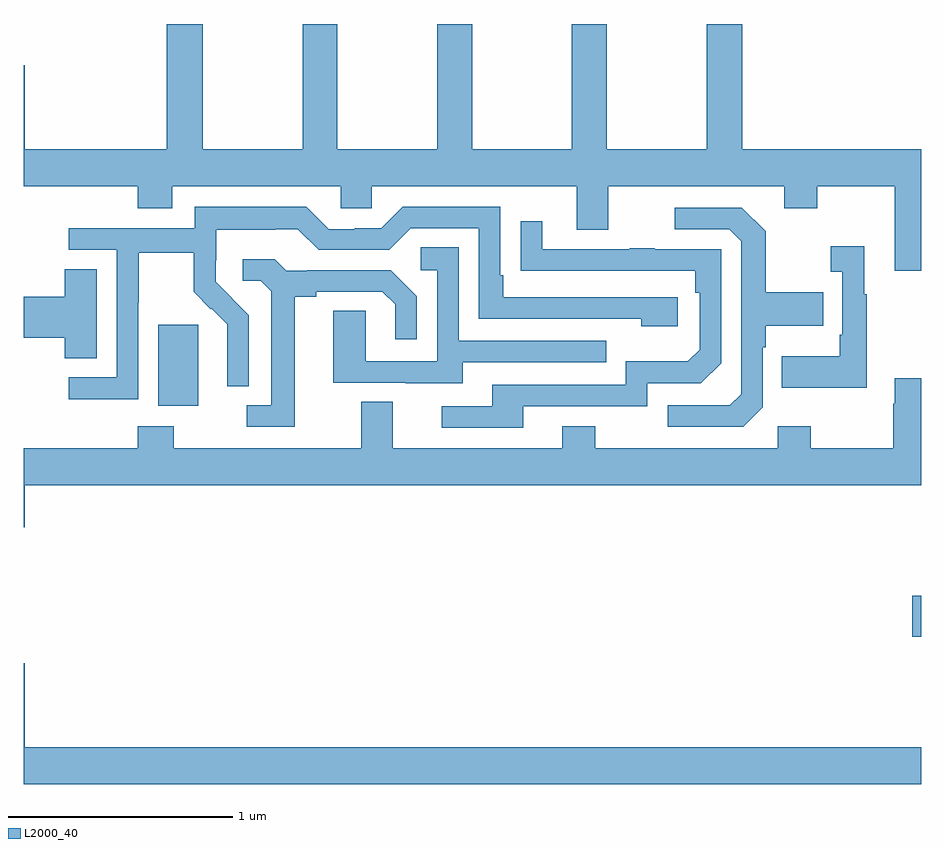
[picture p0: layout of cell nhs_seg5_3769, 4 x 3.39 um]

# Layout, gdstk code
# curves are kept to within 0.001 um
import gdstk
lib = gdstk.Library(unit=1e-6, precision=1e-09)
def R(c, l, rs):  # rectangles x0, y0, x1, y1
    for r in rs: c.add(gdstk.rectangle(r[:2], r[2:], *l))
def P(c, l, *ps):  # polygons
    for p in ps: c.add(gdstk.Polygon(p, *l))
L2000_40 = (2000, 40)

nhs_seg5_3769 = lib.new_cell('nhs_seg5_3769')
R(nhs_seg5_3769, L2000_40, [(336.96,872.069,337,872.252), (333.599,873.098,333.778,873.459)])
P(nhs_seg5_3769, L2000_40, [(337,874.24),(336.203,874.24),(336.203,874.799),(336.043,874.799),(336.043,874.24),(335.598,874.24),(335.598,874.799),(335.443,874.799),(335.443,874.24),(334.998,874.24),(334.998,874.799),(334.843,874.799),(334.843,874.24),(334.398,874.24),(334.398,874.799),(334.243,874.799),(334.243,874.24),(333.798,874.24),(333.798,874.799),(333.638,874.799),(333.638,874.24),(333.004,874.24),(333.004,874.615),(333,874.615),(333,874.076),(333.509,874.076),(333.509,873.977),(333.661,873.977),(333.661,874.076),(334.413,874.076),(334.413,873.978),(334.551,873.978),(334.551,874.076),(335.465,874.076),(335.465,873.882),(335.605,873.882),(335.605,874.076),(336.389,874.076),(336.389,873.977),(336.537,873.977),(336.537,874.076),(336.881,874.076),(336.881,873.699),(337,873.699)],
  [(333.51,873.556),(333.513,873.556),(333.513,873.78),(333.757,873.78),(333.757,873.605),(333.834,873.528),(333.837,873.531),(333.908,873.461),(333.908,873.338),(333.906,873.338),(333.906,873.184),(334.002,873.184),(334.002,873.502),(333.856,873.65),(333.856,873.747),(333.858,873.747),(333.858,873.881),(334.121,873.881),(334.121,873.885),(334.221,873.885),(334.314,873.792),(334.629,873.792),(334.725,873.888),(335.028,873.888),(335.028,873.486),(335.753,873.486),(335.753,873.452),(335.914,873.452),(335.914,873.582),(335.137,873.582),(335.137,873.679),(335.124,873.679),(335.124,873.984),(334.689,873.984),(334.593,873.888),(334.475,873.888),(334.475,873.885),(334.359,873.885),(334.259,873.985),(333.762,873.985),(333.762,873.888),(333.201,873.888),(333.201,873.792),(333.414,873.792),(333.414,873.225),(333.201,873.225),(333.201,873.127),(333.51,873.127)],
  [(336.294,873.09),(336.294,873.359),(336.307,873.359),(336.307,873.455),(336.563,873.455),(336.563,873.603),(336.307,873.603),(336.307,873.875),(336.201,873.981),(335.901,873.981),(335.901,873.885),(336.144,873.885),(336.198,873.831),(336.198,873.15),(336.147,873.099),(335.871,873.099),(335.871,873.003),(336.207,873.003)],
  [(335.227,873.096),(335.778,873.096),(335.778,873.198),(336.018,873.198),(336.108,873.288),(336.108,873.795),(335.813,873.795),(335.813,873.8),(335.701,873.8),(335.701,873.795),(335.311,873.795),(335.311,873.919),(335.215,873.919),(335.215,873.7),(335.992,873.699),(335.992,873.602),(336.012,873.602),(336.012,873.348),(335.959,873.295),(335.682,873.295),(335.682,873.192),(335.087,873.192),(335.087,873.096),(334.863,873.096),(334.863,873),(335.227,873)],
  [(336.757,873.595),(336.745,873.595),(336.745,873.808),(336.597,873.808),(336.597,873.695),(336.648,873.695),(336.648,873.415),(336.636,873.415),(336.636,873.319),(336.379,873.319),(336.379,873.179),(336.757,873.179)],
  [(334.957,873.291),(335.597,873.291),(335.597,873.387),(334.938,873.387),(334.938,873.803),(334.77,873.803),(334.77,873.702),(334.842,873.702),(334.842,873.297),(334.524,873.297),(334.524,873.521),(334.379,873.521),(334.379,873.201),(334.703,873.201),(334.703,873.197),(334.957,873.197)],
  [(334.207,873.584),(334.303,873.584),(334.303,873.606),(334.598,873.606),(334.655,873.549),(334.655,873.393),(334.752,873.393),(334.752,873.586),(334.636,873.702),(334.264,873.702),(334.264,873.699),(334.17,873.699),(334.118,873.751),(333.975,873.751),(333.975,873.654),(334.056,873.654),(334.103,873.607),(334.103,873.099),(333.993,873.099),(333.993,873.003),(334.207,873.003)],
  [(333.325,873.707),(333.182,873.707),(333.182,873.584),(333,873.584),(333,873.401),(333.182,873.401),(333.182,873.31),(333.325,873.31)],
  [(333.004,872.744),(337,872.744),(337,873.22),(336.881,873.22),(336.881,873.107),(336.874,873.107),(336.874,872.908),(336.507,872.908),(336.507,873.007),(336.36,873.007),(336.36,872.908),(335.547,872.908),(335.547,873.007),(335.399,873.007),(335.399,872.908),(334.645,872.908),(334.645,873.116),(334.505,873.116),(334.505,872.908),(333.669,872.908),(333.669,873.007),(333.509,873.007),(333.509,872.908),(333,872.908),(333,872.556),(333.004,872.556)],
  [(337,871.576),(333.004,871.576),(333.004,871.951),(333,871.951),(333,871.412),(337,871.412)])

lib.write_gds('nhs_seg5_3769.gds')
